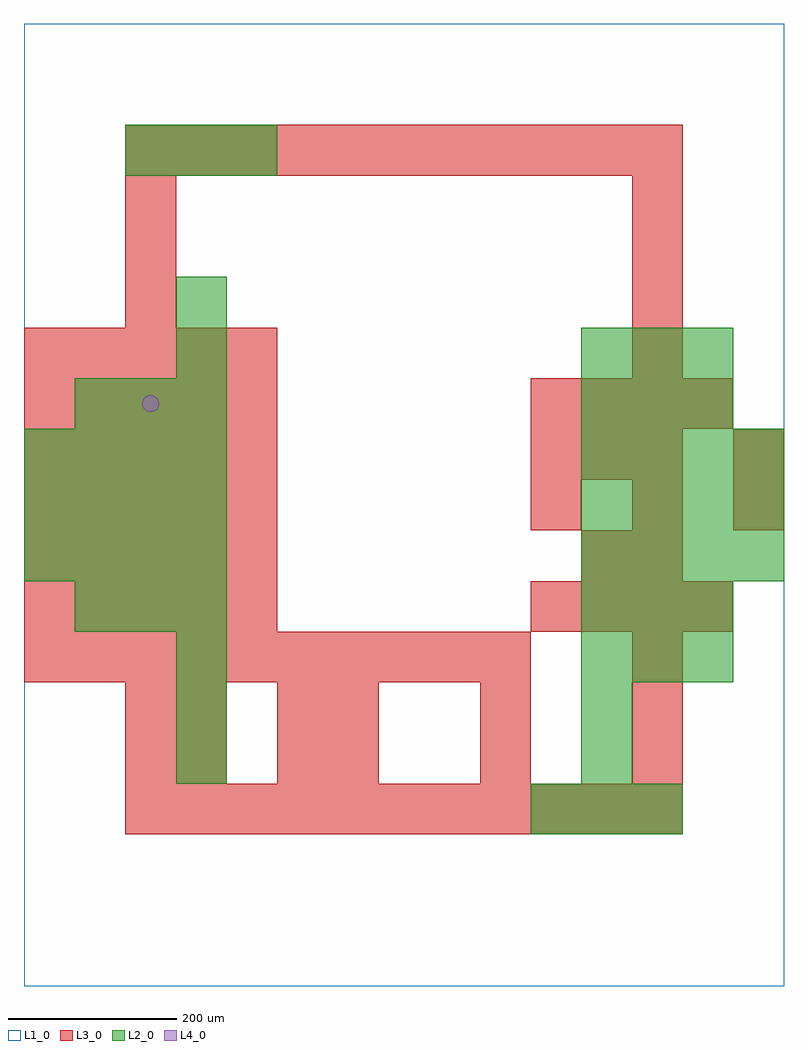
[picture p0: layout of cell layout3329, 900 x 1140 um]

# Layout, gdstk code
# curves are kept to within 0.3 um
import gdstk
lib = gdstk.Library(unit=1e-6, precision=1e-09)
def R(c, l, rs):  # rectangles x0, y0, x1, y1
    for r in rs: c.add(gdstk.rectangle(r[:2], r[2:], *l))
def A(c, l, x, y, w, h, nx, ny, dx, dy):  # array of equal rectangles
    R(c, l, [(x+i*dx, y+j*dy, x+i*dx+w, y+j*dy+h) for i in range(nx) for j in range(ny)])
def P(c, l, *ps):  # polygons
    for p in ps: c.add(gdstk.Polygon(p, *l))
L1_0 = (1, 0)
L2_0 = (2, 0)
L3_0 = (3, 0)
L4_0 = (4, 0)

layout3329 = lib.new_cell('layout3329')
R(layout3329, L1_0, [(0,0,900,1140)])
A(layout3329, L2_0, 600, 180, 60, 60, 3, 1, 60, 0)
A(layout3329, L2_0, 180, 240, 60, 60, 1, 3, 0, 60)
A(layout3329, L2_0, 660, 360, 60, 60, 3, 2, 60, 60)
A(layout3329, L2_0, 60, 420, 60, 60, 3, 2, 60, 240)
A(layout3329, L2_0, 0, 480, 60, 60, 4, 3, 60, 60)
A(layout3329, L2_0, 660, 480, 60, 60, 4, 3, 60, 60)
A(layout3329, L2_0, 660, 660, 60, 60, 3, 2, 60, 60)
A(layout3329, L2_0, 120, 960, 60, 60, 3, 1, 60, 0)
R(layout3329, L2_0, [(660,240,720,300), (660,300,720,360), (180,720,240,780), (180,780,240,840)])
A(layout3329, L3_0, 120, 180, 60, 60, 11, 2, 60, 780)
A(layout3329, L3_0, 360, 240, 60, 60, 3, 2, 180, 60)
A(layout3329, L3_0, 0, 360, 60, 60, 10, 1, 60, 0)
A(layout3329, L3_0, 0, 420, 60, 60, 5, 6, 60, 60)
A(layout3329, L3_0, 600, 420, 60, 60, 4, 2, 60, 240)
A(layout3329, L3_0, 600, 540, 60, 60, 3, 1, 120, 0)
A(layout3329, L3_0, 600, 600, 60, 60, 3, 1, 60, 0)
A(layout3329, L3_0, 720, 720, 60, 60, 1, 4, 0, 60)
A(layout3329, L3_0, 120, 780, 60, 60, 1, 3, 0, 60)
R(layout3329, L3_0, [(120,240,180,300), (180,240,240,300), (300,240,360,300), (120,300,180,360), (180,300,240,360), (300,300,360,360), (720,360,780,420), (660,480,720,540), (720,480,780,540), (840,600,900,660)])
P(layout3329, L4_0, [(160,690),(159.239,693.827),(157.071,697.071),(153.827,699.239),(150,700),(146.173,699.239),(142.929,697.071),(140.761,693.827),(140,690),(140.761,686.173),(142.929,682.929),(146.173,680.761),(150,680),(153.827,680.761),(157.071,682.929),(159.239,686.173)])

lib.write_gds('layout3329.gds')
